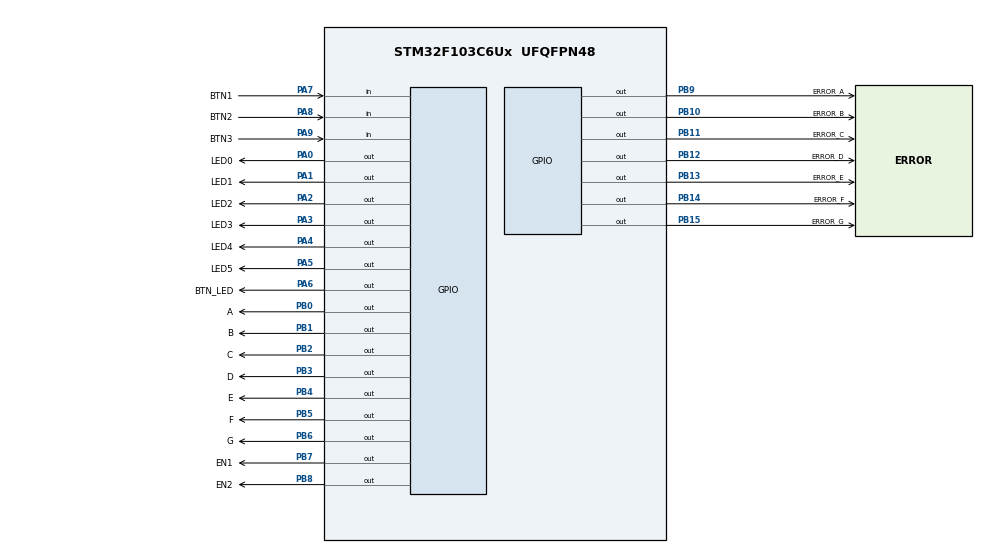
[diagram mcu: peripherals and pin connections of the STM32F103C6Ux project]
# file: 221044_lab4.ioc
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IWDG.Prescaler=IWDG_PRESCALER_32
Mcu.Family=STM32F1
Mcu.Name=STM32F103C6Ux
Mcu.Package=UFQFPN48
NVIC.PriorityGroup=NVIC_PRIORITYGROUP_4
NVIC.TIM2_IRQn=true\:0\:0\:false\:false\:true\:true\:true
PA0-WKUP.GPIO_Label=LED0
PA0-WKUP.Signal=GPIO_Output
PA1.GPIO_Label=LED1
PA1.Signal=GPIO_Output
PA13.Mode=Serial_Wire
PA13.Signal=SYS_JTMS-SWDIO
PA14.Mode=Serial_Wire
PA14.Signal=SYS_JTCK-SWCLK
PA2.GPIO_Label=LED2
PA2.Signal=GPIO_Output
PA3.GPIO_Label=LED3
PA3.Signal=GPIO_Output
PA4.GPIO_Label=LED4
PA4.Signal=GPIO_Output
PA5.GPIO_Label=LED5
PA5.Signal=GPIO_Output
PA6.GPIO_Label=BTN_LED
PA6.Signal=GPIO_Output
PA7.GPIO_Label=BTN1
PA7.GPIO_PuPd=GPIO_PULLUP
PA7.Signal=GPIO_Input
PA8.GPIO_Label=BTN2
PA8.GPIO_PuPd=GPIO_PULLUP
PA8.Signal=GPIO_Input
PA9.GPIO_Label=BTN3
PA9.GPIO_PuPd=GPIO_PULLUP
PA9.Signal=GPIO_Input
PB0.GPIO_Label=A
PB0.Signal=GPIO_Output
PB1.GPIO_Label=B
PB1.Signal=GPIO_Output
PB10.GPIO_Label=ERROR_B
PB10.Signal=GPIO_Output
PB11.GPIO_Label=ERROR_C
PB11.Signal=GPIO_Output
PB12.GPIO_Label=ERROR_D
PB12.Signal=GPIO_Output
PB13.GPIO_Label=ERROR_E
PB13.Signal=GPIO_Output
PB14.GPIO_Label=ERROR_F
PB14.Signal=GPIO_Output
PB15.GPIO_Label=ERROR_G
PB15.Signal=GPIO_Output
PB2.GPIO_Label=C
PB2.Signal=GPIO_Output
PB3.GPIO_Label=D
PB3.Signal=GPIO_Output
PB4.GPIO_Label=E
PB4.Signal=GPIO_Output
PB5.GPIO_Label=F
PB5.Signal=GPIO_Output
PB6.GPIO_Label=G
PB6.Signal=GPIO_Output
PB7.GPIO_Label=EN1
PB7.Signal=GPIO_Output
PB8.GPIO_Label=EN2
PB8.Signal=GPIO_Output
PB9.GPIO_Label=ERROR_A
PB9.Signal=GPIO_Output
ProjectManager.HeapSize=0x200
ProjectManager.StackSize=0x400
ProjectManager.TargetToolchain=STM32CubeIDE
RCC.APB1Freq_Value=8000000
RCC.APB2Freq_Value=8000000
TIM2.Period=9
TIM2.Prescaler=7999
VP_IWDG_VS_IWDG.Mode=IWDG_Activate
VP_TIM2_VS_ClockSourceINT.Mode=Internal
board=custom

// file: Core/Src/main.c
/* USER CODE BEGIN Header */
/**
  ******************************************************************************
  * @file           : main.c
  * @brief          : Main program body
  ******************************************************************************
  * @attention
  *
  * <h2><center>&copy; Copyright (c) 2026 STMicroelectronics.
  * All rights reserved.</center></h2>
  *
  * This software component is licensed by ST under BSD 3-Clause license,
  * the "License"; You may not use this file except in compliance with the
  * License. You may obtain a copy of the License at:
  *                        opensource.org/licenses/BSD-3-Clause
  *
  ******************************************************************************
  */
/* USER CODE END Header */
#include "main.h"

/* USER CODE BEGIN PD */
#define LED_DEBUG_TIMER		0
#define FIRST_DEL_TIMER		1
#define SECOND_DEL_TIMER	2
#define FIRST_ADD_TIMER		3
#define SECOND_ADD_TIMER	4

#define LED_DEBUG_DUR		1000
#define FIRST_DEL_DUR		10000
#define SECOND_DEL_DUR		20000
#define FIRST_ADD_DUR		30000
#define SECOND_ADD_DUR		40000

//#define tc1
//#define tc2
//#define tc3
#define tc4
//#define tc5
/* USER CODE END PD */

IWDG_HandleTypeDef hiwdg;

TIM_HandleTypeDef htim2;

void SystemClock_Config(void);
static void MX_GPIO_Init(void);
static void MX_TIM2_Init(void);
static void MX_IWDG_Init(void);

int main(void)
{

  /* MCU Configuration--------------------------------------------------------*/

  /* Reset of all peripherals, Initializes the Flash interface and the Systick. */
  HAL_Init();

  /* Configure the system clock */
  SystemClock_Config();

  /* Initialize all configured peripherals */
  MX_GPIO_Init();
  MX_TIM2_Init();
  MX_IWDG_Init();
  /* USER CODE BEGIN 2 */
  HAL_TIM_Base_Start_IT(&htim2);
  /* USER CODE END 2 */

  /* Infinite loop */
  /* USER CODE BEGIN WHILE */
  HAL_GPIO_WritePin(LED0_GPIO_Port, LED0_Pin, GPIO_PIN_SET);
  HAL_GPIO_WritePin(LED1_GPIO_Port, LED1_Pin, GPIO_PIN_SET);
  HAL_GPIO_WritePin(LED2_GPIO_Port, LED2_Pin, GPIO_PIN_SET);
  HAL_GPIO_WritePin(LED3_GPIO_Port, LED3_Pin, GPIO_PIN_SET);
  HAL_GPIO_WritePin(LED4_GPIO_Port, LED4_Pin, GPIO_PIN_SET);
  HAL_GPIO_WritePin(LED5_GPIO_Port, LED5_Pin, GPIO_PIN_SET);
  HAL_GPIO_WritePin(EN1_GPIO_Port, EN1_Pin, GPIO_PIN_RESET);
  HAL_GPIO_WritePin(EN2_GPIO_Port, EN2_Pin, GPIO_PIN_RESET);
  display7SEGError(DISABLE_7SEG);

  SCH_Init();
  timerSet(LED_DEBUG_TIMER, LED_DEBUG_DUR);

#ifdef tc1
  uint32_t id1 = SCH_Add_Task(task1, 0, 1000);
  uint32_t id2 = SCH_Add_Task(task2, 0, 3000);
  uint32_t id3 = SCH_Add_Task(task3, 0, 5000);

#endif

#ifdef tc2
  uint32_t id1 = SCH_Add_Task(task1, 1000, 1000);
  uint32_t id2 = SCH_Add_Task(task2, 6000, 6000);
  uint32_t id3 = SCH_Add_Task(task3, 2000, 2000);
  uint32_t id4 = SCH_Add_Task(task4, 3000, 3000);
  uint32_t id5 = SCH_Add_Task(task5, 8000, 8000);

  timerSet(FIRST_DEL_TIMER, FIRST_DEL_DUR);
  timerSet(SECOND_DEL_TIMER, SECOND_DEL_DUR);
#endif

#ifdef tc3
  uint32_t id1 = SCH_Add_Task(task1, 500, 1000);
  uint32_t id2 = SCH_Add_Task(task2, 2000, 6000);
  uint32_t id3 = SCH_Add_Task(task3, 1000, 2000);
  uint32_t id4 = SCH_Add_Task(task4, 0, 3000);
  uint32_t id5 = SCH_Add_Task(task5, 3000, 8000);

  timerSet(FIRST_DEL_TIMER, FIRST_DEL_DUR);
  timerSet(SECOND_DEL_TIMER, SECOND_DEL_DUR);
  timerSet(FIRST_ADD_TIMER, FIRST_ADD_DUR);
  timerSet(SECOND_ADD_TIMER, SECOND_ADD_DUR);
#endif

#ifdef tc4
  uint32_t id1 = SCH_Add_Task(task1, 0, 1000);
  uint32_t id2 = SCH_Add_Task(task2, 2000, 2000);
  uint32_t id3 = SCH_Add_Task(task3, 0, 3000);
  uint32_t id4 = SCH_Add_Task(task4, 1000, 5000);
  uint32_t id5 = SCH_Add_Task(task5, 8000, 8000);
  SCH_Add_Task(task_7seg, 0, 250);
  SCH_Add_Task(task_incre_num, 1000, 1000);

  timerSet(FIRST_DEL_TIMER, FIRST_DEL_DUR);
  timerSet(SECOND_DEL_TIMER, SECOND_DEL_DUR);
  timerSet(FIRST_ADD_TIMER, FIRST_ADD_DUR);
  timerSet(SECOND_ADD_TIMER, SECOND_ADD_DUR);
#endif

#ifdef tc5

#endif

  while (1)
  {
	  if (timerFlag(LED_DEBUG_TIMER)){
		  timerSet(LED_DEBUG_TIMER, LED_DEBUG_DUR);
		  HAL_GPIO_TogglePin(LED0_GPIO_Port, LED0_Pin);
	  }

#ifdef tc1
#endif

#ifdef tc2
	  if (timerFlag(FIRST_DEL_TIMER)){
		  timerSet(FIRST_DEL_TIMER, DISABLE_TIMER);
		  SCH_Delete_Task(id1);
		  SCH_Delete_Task(id2);
		  SCH_Delete_Task(id3);
	  }
	  if (timerFlag(SECOND_DEL_TIMER)){
		  timerSet(SECOND_DEL_TIMER, DISABLE_TIMER);
		  SCH_Delete_Task(id4);
		  SCH_Delete_Task(id5);
	  }
#endif

#ifdef tc3
	  if (timerFlag(FIRST_DEL_TIMER)){
		  timerSet(FIRST_DEL_TIMER, DISABLE_TIMER);
		  SCH_Delete_Task(id1);
		  SCH_Delete_Task(id2);
		  SCH_Delete_Task(id3);
	  }
	  if (timerFlag(SECOND_DEL_TIMER)){
		  timerSet(SECOND_DEL_TIMER, DISABLE_TIMER);
		  SCH_Delete_Task(id4);
		  SCH_Delete_Task(id5);
	  }
	  if (timerFlag(FIRST_ADD_TIMER)){
		  timerSet(FIRST_ADD_TIMER, DISABLE_TIMER);
		  SCH_Add_Task(task1, 500, 1000);
		  SCH_Add_Task(task2, 2000, 6000);
		  SCH_Add_Task(task3, 1000, 2000);
	  }
	  if (timerFlag(SECOND_ADD_TIMER)){
		  timerSet(SECOND_ADD_TIMER, DISABLE_TIMER);
		  SCH_Add_Task(task4, 0, 3000);
		  SCH_Add_Task(task5, 3000, 8000);
	  }
#endif

#ifdef tc4
	  if (timerFlag(FIRST_DEL_TIMER)){
		  timerSet(FIRST_DEL_TIMER, DISABLE_TIMER);
		  SCH_Delete_Task(id1);
		  SCH_Delete_Task(id2);
	  }
	  if (timerFlag(SECOND_DEL_TIMER)){
		  timerSet(SECOND_DEL_TIMER, DISABLE_TIMER);
		  SCH_Delete_Task(id3);
		  SCH_Delete_Task(id4);
		  SCH_Delete_Task(id5);
	  }
	  if (timerFlag(FIRST_ADD_TIMER)){
		  timerSet(FIRST_ADD_TIMER, DISABLE_TIMER);
		  SCH_Add_Task(task1, 0, 1000);
		  SCH_Add_Task(task2, 20, 2000);
	  }
	  if (timerFlag(SECOND_ADD_TIMER)){
		  timerSet(SECOND_ADD_TIMER, DISABLE_TIMER);
		  SCH_Add_Task(task3, 0, 3000);
		  SCH_Add_Task(task4, 1000, 5000);
		  SCH_Add_Task(task5, 8000, 8000);
	  }
#endif

#ifdef tc5

#endif

	  SCH_Dispatch_Tasks();
	  SCH_Report_Status();
    /* USER CODE END WHILE */

  }
}

void SystemClock_Config(void)
{
  RCC_OscInitTypeDef RCC_OscInitStruct = {0};
  RCC_ClkInitTypeDef RCC_ClkInitStruct = {0};

  /** Initializes the RCC Oscillators according to the specified parameters
  * in the RCC_OscInitTypeDef structure.
  */
  RCC_OscInitStruct.OscillatorType = RCC_OSCILLATORTYPE_HSI|RCC_OSCILLATORTYPE_LSI;
  RCC_OscInitStruct.HSIState = RCC_HSI_ON;
  RCC_OscInitStruct.HSICalibrationValue = RCC_HSICALIBRATION_DEFAULT;
  RCC_OscInitStruct.LSIState = RCC_LSI_ON;
  RCC_OscInitStruct.PLL.PLLState = RCC_PLL_NONE;
  if (HAL_RCC_OscConfig(&RCC_OscInitStruct) != HAL_OK)
  {
    Error_Handler();
  }
  /** Initializes the CPU, AHB and APB buses clocks
  */
  RCC_ClkInitStruct.ClockType = RCC_CLOCKTYPE_HCLK|RCC_CLOCKTYPE_SYSCLK
                              |RCC_CLOCKTYPE_PCLK1|RCC_CLOCKTYPE_PCLK2;
  RCC_ClkInitStruct.SYSCLKSource = RCC_SYSCLKSOURCE_HSI;
  RCC_ClkInitStruct.AHBCLKDivider = RCC_SYSCLK_DIV1;
  RCC_ClkInitStruct.APB1CLKDivider = RCC_HCLK_DIV1;
  RCC_ClkInitStruct.APB2CLKDivider = RCC_HCLK_DIV1;

  if (HAL_RCC_ClockConfig(&RCC_ClkInitStruct, FLASH_LATENCY_0) != HAL_OK)
  {
    Error_Handler();
  }
}

static void MX_IWDG_Init(void)
{

  hiwdg.Instance = IWDG;
  hiwdg.Init.Prescaler = IWDG_PRESCALER_32;
  hiwdg.Init.Reload = 4095;
  if (HAL_IWDG_Init(&hiwdg) != HAL_OK)
  {
    Error_Handler();
  }

}

static void MX_TIM2_Init(void)
{

  TIM_ClockConfigTypeDef sClockSourceConfig = {0};
  TIM_MasterConfigTypeDef sMasterConfig = {0};

  htim2.Instance = TIM2;
  htim2.Init.Prescaler = 7999;
  htim2.Init.CounterMode = TIM_COUNTERMODE_UP;
  htim2.Init.Period = 9;
  htim2.Init.ClockDivision = TIM_CLOCKDIVISION_DIV1;
  htim2.Init.AutoReloadPreload = TIM_AUTORELOAD_PRELOAD_DISABLE;
  if (HAL_TIM_Base_Init(&htim2) != HAL_OK)
  {
    Error_Handler();
  }
  sClockSourceConfig.ClockSource = TIM_CLOCKSOURCE_INTERNAL;
  if (HAL_TIM_ConfigClockSource(&htim2, &sClockSourceConfig) != HAL_OK)
  {
    Error_Handler();
  }
  sMasterConfig.MasterOutputTrigger = TIM_TRGO_RESET;
  sMasterConfig.MasterSlaveMode = TIM_MASTERSLAVEMODE_DISABLE;
  if (HAL_TIMEx_MasterConfigSynchronization(&htim2, &sMasterConfig) != HAL_OK)
  {
    Error_Handler();
  }

}

static void MX_GPIO_Init(void)
{
  GPIO_InitTypeDef GPIO_InitStruct = {0};

  /* GPIO Ports Clock Enable */
  __HAL_RCC_GPIOA_CLK_ENABLE();
  __HAL_RCC_GPIOB_CLK_ENABLE();

  /*Configure GPIO pin Output Level */
  HAL_GPIO_WritePin(GPIOA, LED0_Pin|LED1_Pin|LED2_Pin|LED3_Pin
                          |LED4_Pin|LED5_Pin|BTN_LED_Pin, GPIO_PIN_RESET);

  /*Configure GPIO pin Output Level */
  HAL_GPIO_WritePin(GPIOB, A_Pin|B_Pin|C_Pin|ERROR_B_Pin
                          |ERROR_C_Pin|ERROR_D_Pin|ERROR_E_Pin|ERROR_F_Pin
                          |ERROR_G_Pin|D_Pin|E_Pin|F_Pin
                          |G_Pin|EN1_Pin|EN2_Pin|ERROR_A_Pin, GPIO_PIN_RESET);

  /*Configure GPIO pins : LED0_Pin LED1_Pin LED2_Pin LED3_Pin
                           LED4_Pin LED5_Pin BTN_LED_Pin */
  GPIO_InitStruct.Pin = LED0_Pin|LED1_Pin|LED2_Pin|LED3_Pin
                          |LED4_Pin|LED5_Pin|BTN_LED_Pin;
  GPIO_InitStruct.Mode = GPIO_MODE_OUTPUT_PP;
  GPIO_InitStruct.Pull = GPIO_NOPULL;
  GPIO_InitStruct.Speed = GPIO_SPEED_FREQ_LOW;
  HAL_GPIO_Init(GPIOA, &GPIO_InitStruct);

  /*Configure GPIO pins : BTN1_Pin BTN2_Pin BTN3_Pin */
  GPIO_InitStruct.Pin = BTN1_Pin|BTN2_Pin|BTN3_Pin;
  GPIO_InitStruct.Mode = GPIO_MODE_INPUT;
  GPIO_InitStruct.Pull = GPIO_PULLUP;
  HAL_GPIO_Init(GPIOA, &GPIO_InitStruct);

  /*Configure GPIO pins : A_Pin B_Pin C_Pin ERROR_B_Pin
                           ERROR_C_Pin ERROR_D_Pin ERROR_E_Pin ERROR_F_Pin
                           ERROR_G_Pin D_Pin E_Pin F_Pin
                           G_Pin EN1_Pin EN2_Pin ERROR_A_Pin */
  GPIO_InitStruct.Pin = A_Pin|B_Pin|C_Pin|ERROR_B_Pin
                          |ERROR_C_Pin|ERROR_D_Pin|ERROR_E_Pin|ERROR_F_Pin
                          |ERROR_G_Pin|D_Pin|E_Pin|F_Pin
                          |G_Pin|EN1_Pin|EN2_Pin|ERROR_A_Pin;
  GPIO_InitStruct.Mode = GPIO_MODE_OUTPUT_PP;
  GPIO_InitStruct.Pull = GPIO_NOPULL;
  GPIO_InitStruct.Speed = GPIO_SPEED_FREQ_LOW;
  HAL_GPIO_Init(GPIOB, &GPIO_InitStruct);

}

/* USER CODE BEGIN 4 */
void HAL_TIM_PeriodElapsedCallback(TIM_HandleTypeDef *htim) {
	timerRun();
	SCH_Update();
}

/**
  * @brief My wrapper function that calls HAL_IWDG_Refresh to feed the watchdog.
  * @param None
  * @retval None
  */
void Watchdog_Refresh ( void ) {
	HAL_IWDG_Refresh(&hiwdg) ;
}
/* USER CODE END 4 */

void Error_Handler(void)
{
  __disable_irq();
  while (1)
  {
  }
}

/************************ (C) COPYRIGHT STMicroelectronics *****END OF FILE****/
